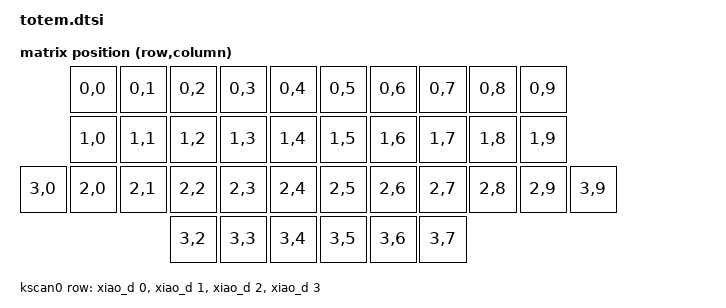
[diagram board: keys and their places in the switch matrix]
#include <dt-bindings/zmk/matrix_transform.h>
#include "totem-layouts.dtsi"

&physical_layout0 {
    transform = <&default_transform>;
};

/ {
    chosen {
        zmk,kscan = &kscan0;
        zmk,physical-layout = &physical_layout0;
    };
    
    default_transform: keymap_transform_0 {
        compatible = "zmk,matrix-transform";
        columns = <10>;
        rows = <4>;
//             | SW01  | SW02  | SW03  | SW04  | SW05  |  | SW05  | SW04  | SW03  | SW02  | SW01  |
//             | SW06  | SW07  | SW08  | SW09  | SW10  |  | SW10  | SW09  | SW08  | SW07  | SW06  |
//      | SW16 | SW11  | SW12  | SW13  | SW14  | SW15  |  | SW15  | SW14  | SW13  | SW12  | SW11  | SW16  |
//                             | SW17  | SW18  | SW19  |  | SW19  | SW18  | SW17  |
        map = <
                RC(0,0) RC(0,1) RC(0,2) RC(0,3) RC(0,4)    RC(0,5) RC(0,6) RC(0,7) RC(0,8) RC(0,9)
                RC(1,0) RC(1,1) RC(1,2) RC(1,3) RC(1,4)    RC(1,5) RC(1,6) RC(1,7) RC(1,8) RC(1,9)
        RC(3,0) RC(2,0) RC(2,1) RC(2,2) RC(2,3) RC(2,4)    RC(2,5) RC(2,6) RC(2,7) RC(2,8) RC(2,9) RC(3,9)
                                RC(3,2) RC(3,3) RC(3,4)    RC(3,5) RC(3,6) RC(3,7)
        >;
    };

    kscan0: kscan {
        compatible = "zmk,kscan-gpio-matrix";
        diode-direction = "col2row";
        wakeup-source;

        row-gpios
            = <&xiao_d 0 (GPIO_ACTIVE_HIGH | GPIO_PULL_DOWN)>
            , <&xiao_d 1 (GPIO_ACTIVE_HIGH | GPIO_PULL_DOWN)>
            , <&xiao_d 2 (GPIO_ACTIVE_HIGH | GPIO_PULL_DOWN)>
            , <&xiao_d 3 (GPIO_ACTIVE_HIGH | GPIO_PULL_DOWN)>
            ;
    };
};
